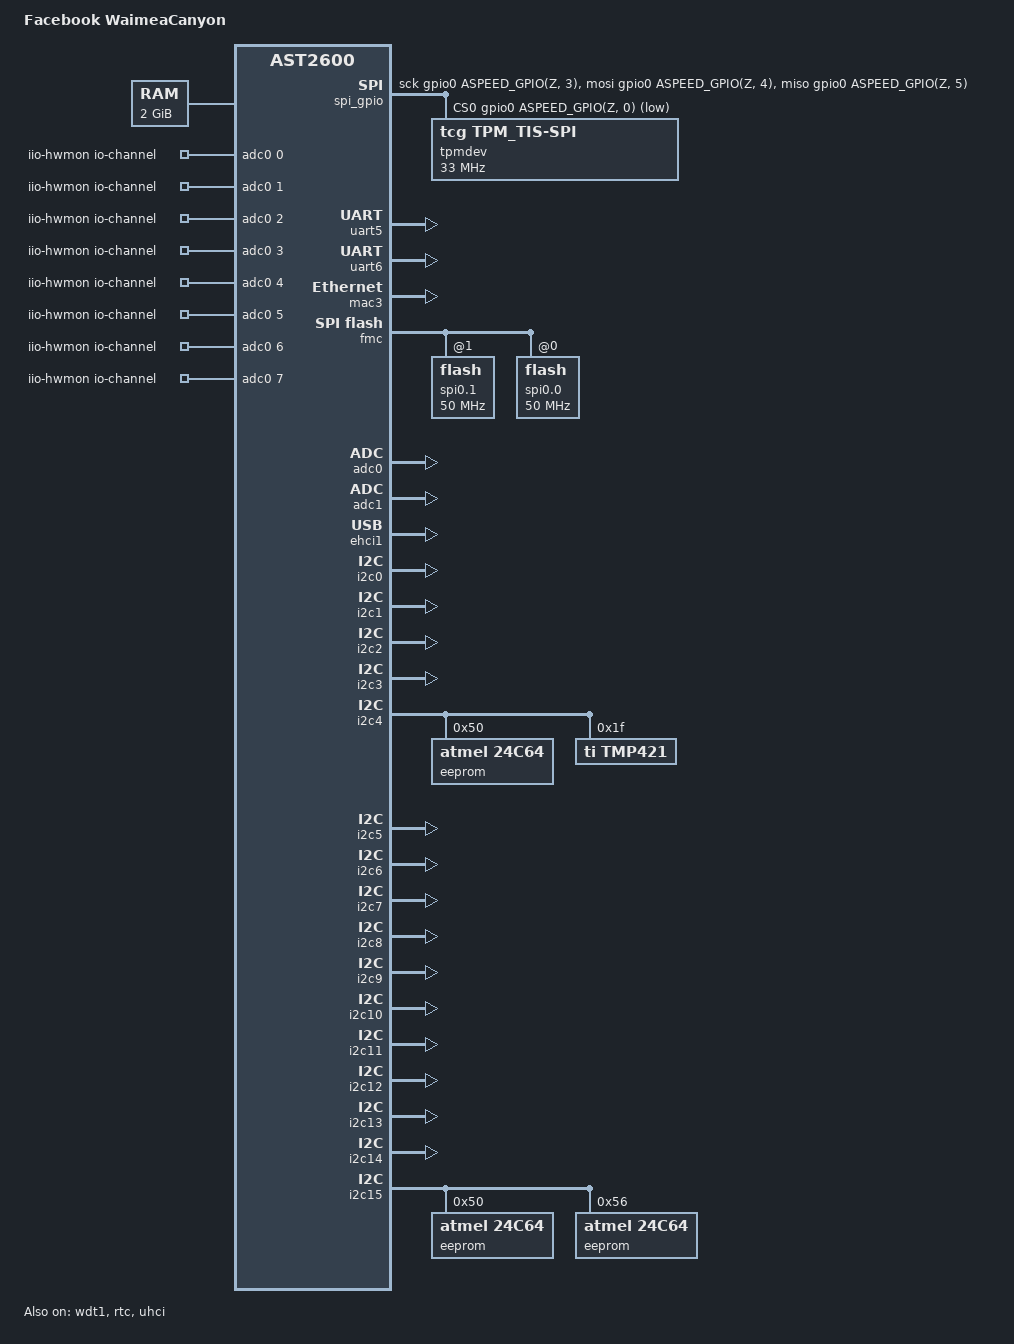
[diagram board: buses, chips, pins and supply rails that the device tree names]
// SPDX-License-Identifier: GPL-2.0-or-later
// Copyright (c) 2020 Facebook Inc.

/dts-v1/;

#include "aspeed-g6.dtsi"
#include <dt-bindings/gpio/aspeed-gpio.h>

/ {
	model = "Facebook WaimeaCanyon";
	compatible = "facebook,waimeacanyon", "aspeed,ast2600";

	aliases {
		serial0 = &uart5;
		serial5 = &uart6;
	};

	chosen {
		stdout-path = &uart5;
		bootargs = "console=ttyS0,57600n8 root=/dev/ram rw vmalloc=384M";
	};

	memory@80000000 {
		device_type = "memory";
		reg = <0x80000000 0x80000000>;
	};

	iio-hwmon {
		compatible = "iio-hwmon";
		io-channels = <&adc0 0>, <&adc0 1>, <&adc0 2>, <&adc0 3>,
			<&adc0 4>, <&adc0 5>, <&adc0 6>, <&adc0 7>,
			<&adc1 2>;
	};

	spi_gpio: spi-gpio {
		status = "okay";
		compatible = "spi-gpio";
		#address-cells = <1>;
		#size-cells = <0>;

		gpio-sck = <&gpio0 ASPEED_GPIO(Z, 3) GPIO_ACTIVE_HIGH>;
		gpio-mosi = <&gpio0 ASPEED_GPIO(Z, 4) GPIO_ACTIVE_HIGH>;
		gpio-miso = <&gpio0 ASPEED_GPIO(Z, 5) GPIO_ACTIVE_HIGH>;
		num-chipselects = <1>;
		cs-gpios = <&gpio0 ASPEED_GPIO(Z, 0) GPIO_ACTIVE_LOW>;

		tpmdev@0 {
			compatible = "tcg,tpm_tis-spi";
			spi-max-frequency = <33000000>;
			reg = <0>;
		};
	};

};

&uart5 {
	status = "okay";
	/* Workaround for AST2600 A0 */
	compatible = "snps,dw-apb-uart";
};

&uart6 {
	status = "okay";
};

&wdt1 {
	status = "okay";
	pinctrl-names = "default";
	pinctrl-0 = <&pinctrl_wdtrst1_default>;
	aspeed,reset-type = "soc";
	aspeed,external-signal;
	aspeed,ext-push-pull;
	aspeed,ext-active-high;
	aspeed,ext-pulse-duration = <256>;
};

&mac3 {
	status = "okay";

	pinctrl-names = "default";
	pinctrl-0 = <&pinctrl_rmii4_default>;
	no-hw-checksum;
	use-ncsi;
	mlx,multi-host;
	ncsi-ctrl,start-redo-probe;
	ncsi-ctrl,no-channel-monitor;
	ncsi-package = <1>;
	ncsi-channel = <1>;
	ncsi-rexmit = <1>;
	ncsi-timeout = <2>;
};

&rtc {
	status = "okay";
};

&fmc {
    status = "okay";
    flash@0 {
        reg = < 1 >;
        status = "okay";
        m25p,fast-read;
        label = "spi0.1";
        spi-max-frequency = <50000000>;
#include "facebook-bmc-vboot2-flash1-32MBdata0-layout.dtsi"
    };
    flash@1 {
        reg = < 0 >;
        status = "okay";
        m25p,fast-read;
        label = "spi0.0";
        spi-max-frequency = <50000000>;
#include "facebook-bmc-vboot2-flash0-layout.dtsi"
    };
};


&adc0 {
	ref_voltage = <2500>;
	status = "okay";

	pinctrl-0 = <&pinctrl_adc0_default &pinctrl_adc1_default
		&pinctrl_adc2_default &pinctrl_adc3_default
		&pinctrl_adc4_default &pinctrl_adc5_default
		&pinctrl_adc6_default &pinctrl_adc7_default>;
};

&adc1 {
	ref_voltage = <2500>;
	status = "okay";

	pinctrl-0 = <&pinctrl_adc8_default &pinctrl_adc9_default>;
};

&ehci1 {
	status = "okay";
};

&uhci {
	status = "okay";
};

// SAS IOC
&i2c0 {
	status = "okay";
	multi-master;
	bus-frequency = <100000>;
	aspeed,hw-timeout-ms = <1000>;
};

// SAS EXP
&i2c1 {
	status = "okay";
	multi-master;
	bus-frequency = <100000>;
	aspeed,hw-timeout-ms = <1000>;
};

// MB BIC
&i2c2 {
	status = "okay";
	multi-master;
	bus-frequency = <400000>;
	aspeed,hw-timeout-ms = <1000>;
};

// peer MB BIC
&i2c3 {
	status = "okay";
	multi-master;
	bus-frequency = <400000>;
	aspeed,hw-timeout-ms = <1000>;
};

// NIC card
&i2c4 {
	status = "okay";
	multi-master;
	aspeed,hw-timeout-ms = <1000>;
	// NIC FRU
	eeprom@50 {
		compatible = "atmel,24c64";
		reg = <0x50>;
	};
	// NIC TEMP
	tmp421@1F {
		compatible = "ti,tmp421";
		reg = <0x1F>;
	};
};

// E1S - SAS IOC
&i2c5 {
	status = "okay";
	multi-master;
	bus-frequency = <100000>;
	aspeed,hw-timeout-ms = <1000>;
};

// E1S - SAS EXP
&i2c6 {
	status = "okay";
	multi-master;
	bus-frequency = <100000>;
	aspeed,hw-timeout-ms = <1000>;
};

// SAS EXP
&i2c7 {
	status = "okay";
	multi-master;
	bus-frequency = <100000>;
	aspeed,hw-timeout-ms = <1000>;
};

// SAS EXP
&i2c8 {
	status = "okay";
	multi-master;
	bus-frequency = <100000>;
	aspeed,hw-timeout-ms = <1000>;
};

// SAS EXP
&i2c9 {
	status = "okay";
	multi-master;
	bus-frequency = <100000>;
	aspeed,hw-timeout-ms = <1000>;
};

// SCM CPLD
&i2c10 {
	status = "okay";
};

// OCP debug card
&i2c11 {
	multi-master;
	bus-frequency = <100000>;
	aspeed,hw-timeout-ms = <1000>;
	status = "okay";
};

// reserve
&i2c12 {
	status = "okay";
};

// reserve
&i2c13 {
	status = "okay";
};

// no used
&i2c14 {
	status = "okay";
};

// SCM local
&i2c15 {
	status = "okay";
	// SCM FRU
	eeprom@50 {
		compatible = "atmel,24c64";
		reg = <0x50>;
	};
	// BSM FRU
	eeprom@56 {
		compatible = "atmel,24c64";
		reg = <0x56>;
	};
};
